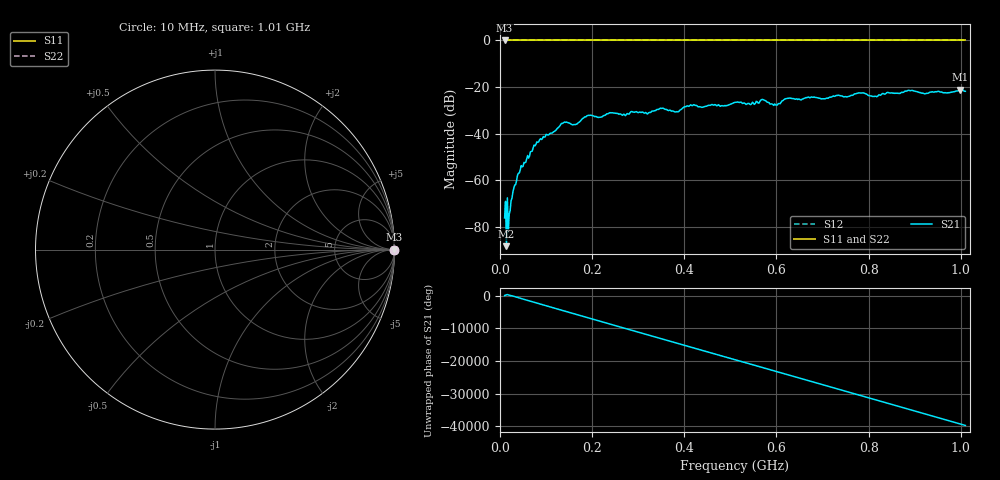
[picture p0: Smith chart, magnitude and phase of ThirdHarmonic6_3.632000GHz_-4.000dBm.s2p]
! 8/17/2025 12:10:56 PM
! C:\ANRITSUVNA\TEMP\TEMP.S2P
! CHANNEL.1
! TR.MEASUREMENT
! RAW.DATA
! RF.CORRECTION.OFF
! AVERAGING.OFF
! IF.BANDWIDTH: 5KHZ
! SWEEPTYPE:  FREQ.SWEEP(Linear)
! Reference Plane Port Info
! PORT:  PORT1  PORT2
! DISTANCE:  0  m  0  m
! TIME:  0  s  0  s
! PHASE.OFFSET:  0  deg.  0  deg.
! LOSS:  0  dB  0  dB
! REF.LOSS:  0  dB  0  dB
! REF.FREQ:  0  Hz  0  Hz
! Power Info
! POWER:  -20  dBm  -20  dBm
! EFF.POWER:  -20  dBm  -20  dBm
! SOURCE.ATTEN:  0  dB  0  dB
! TEST.ATTEN:  0  dB  0  dB
# GHZ S RI R 50.0
! FREQ.GHZ  S11RE  S11IM  S21RE  S21IM  S12RE  S12IM  S22RE  S22IM
!; PortSelection: Port_12
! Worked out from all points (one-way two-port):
!   501 points, 10 MHz to 1.01 GHz, reference 50 ohm
!   highest |S21| = -21.20 dB at 998 MHz (marker M1); lowest = -88.3 dB at 14 MHz (marker M2)
!   lowest |S11| = 0.0 dB at 10 MHz (marker M3)
!   |S11| at or under -10 dB: nowhere
!   |S22| runs from 0.0 to 0.0 dB; largest |S21 - S12| = 1.1
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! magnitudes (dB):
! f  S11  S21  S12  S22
! 10 MHz  0.0  -76.2  0.0  0.0
! 14 MHz  0.0  -88.3  0.0  0.0
! 18 MHz  0.0  -82.1  0.0  0.0
! 22 MHz  0.0  -73.0  0.0  0.0
! 28 MHz  0.0  -65.1  0.0  0.0
! 42 MHz  0.0  -56.8  0.0  0.0
! 76 MHz  0.0  -45.2  0.0  0.0
! 136 MHz  0.0  -35.6  0.0  0.0
! 162 MHz  0.0  -36.1  0.0  0.0
! 178 MHz  0.0  -33.8  0.0  0.0
! 194 MHz  0.0  -32.2  0.0  0.0
! 344 MHz  0.0  -29.6  0.0  0.0
! 384 MHz  0.0  -30.5  0.0  0.0
! 416 MHz  0.0  -27.9  0.0  0.0
! 510 MHz  0.0  -26.6  0.0  0.0
! 570 MHz  0.0  -25.3  0.0  0.0
! 598 MHz  0.0  -27.7  0.0  0.0
! 624 MHz  0.0  -24.9  0.0  0.0
! 678 MHz  0.0  -24.4  0.0  0.0
! 844 MHz  0.0  -22.5  0.0  0.0
! 998 MHz  0.0  -21.2  0.0  0.0
! 1.01 GHz  0.0  -21.8  0.0  0.0
